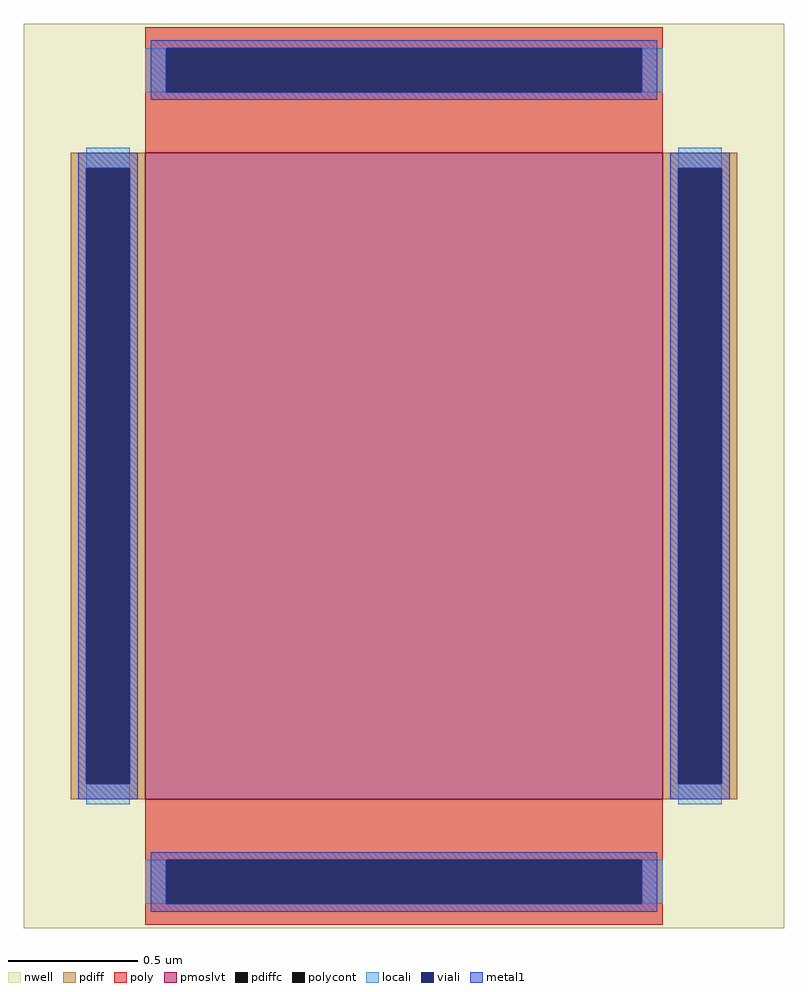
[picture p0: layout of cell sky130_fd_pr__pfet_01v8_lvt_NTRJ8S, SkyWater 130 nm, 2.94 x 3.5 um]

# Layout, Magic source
magic
tech sky130A
magscale 1 2
<< nwell >>
rect -294 -350 294 350
<< pmoslvt >>
rect -200 -250 200 250
<< pdiff >>
rect -258 238 -200 250
rect -258 -238 -246 238
rect -212 -238 -200 238
rect -258 -250 -200 -238
rect 200 238 258 250
rect 200 -238 212 238
rect 246 -238 258 238
rect 200 -250 258 -238
<< pdiffc >>
rect -246 -238 -212 238
rect 212 -238 246 238
<< poly >>
rect -200 331 200 347
rect -200 297 -184 331
rect 184 297 200 331
rect -200 250 200 297
rect -200 -297 200 -250
rect -200 -331 -184 -297
rect 184 -331 200 -297
rect -200 -347 200 -331
<< polycont >>
rect -184 297 184 331
rect -184 -331 184 -297
<< locali >>
rect -200 297 -184 331
rect 184 297 200 331
rect -246 238 -212 254
rect -246 -254 -212 -238
rect 212 238 246 254
rect 212 -254 246 -238
rect -200 -331 -184 -297
rect 184 -331 200 -297
<< viali >>
rect -184 297 184 331
rect -246 -238 -212 238
rect 212 -238 246 238
rect -184 -331 184 -297
<< metal1 >>
rect -196 331 196 337
rect -196 297 -184 331
rect 184 297 196 331
rect -196 291 196 297
rect -252 238 -206 250
rect -252 -238 -246 238
rect -212 -238 -206 238
rect -252 -250 -206 -238
rect 206 238 252 250
rect 206 -238 212 238
rect 246 -238 252 238
rect 206 -250 252 -238
rect -196 -297 196 -291
rect -196 -331 -184 -297
rect 184 -331 196 -297
rect -196 -337 196 -331
<< properties >>
string gencell sky130_fd_pr__pfet_01v8_lvt
string library sky130
string parameters w 2.5 l 2 m 1 nf 1 diffcov 100 polycov 100 guard 0 glc 0 grc 0 gtc 0 gbc 0 tbcov 100 rlcov 100 topc 1 botc 1 poverlap 0 doverlap 1 lmin 0.35 wmin 0.42 compatible {sky130_fd_pr__pfet_01v8  sky130_fd_pr__pfet_01v8_lvt sky130_fd_pr__pfet_01v8_hvt  sky130_fd_pr__pfet_g5v0d10v5} full_metal 0 viasrc 100 viadrn 100 viagate 100 viagb 0 viagr 0 viagl 0 viagt 0
<< end >>
